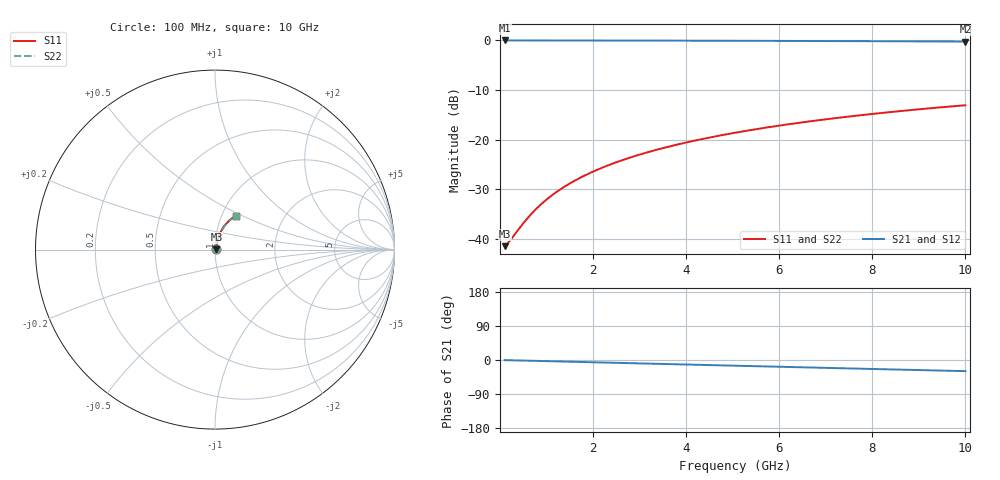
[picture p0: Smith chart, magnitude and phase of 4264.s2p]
# Hz S RI R 50.00
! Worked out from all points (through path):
!   100 points, 100 MHz to 10 GHz, reference 50 ohm
!   highest |S21| = -0.07 dB at 100 MHz (marker M1); lowest = -0.3 dB at 10 GHz (marker M2)
!   group delay of S21, straight-line fit = 8.18 ps
!   lowest |S11| = -41.4 dB at 100 MHz (marker M3), VSWR 1.02, Z = 50.8 + j0.235 ohm
!   |S11| at or under -10 dB: start of sweep to end of sweep
!   |S22| runs from -41.4 to -13.1 dB; largest |S21 - S12| = 0
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1e8  0.00817 0.00231  0.9918 -0.00517  0.9918 -0.00517  0.00817 0.00231
2e8  0.00826 0.00462  0.9917 -0.0103  0.9917 -0.0103  0.00826 0.00462
5e8  0.00861 0.0115  0.9913 -0.0258  0.9913 -0.0258  0.00861 0.0115
6e8  0.00877 0.0138  0.9911 -0.031  0.9911 -0.031  0.00877 0.0138
7e8  0.00894 0.0161  0.9908 -0.0362  0.9908 -0.0362  0.00894 0.0161
9e8  0.00937 0.0207  0.9903 -0.0465  0.9903 -0.0465  0.00937 0.0207
1.1e9  0.00988 0.0253  0.9896 -0.0568  0.9896 -0.0568  0.00988 0.0253
1.3e9  0.0105 0.0299  0.9888 -0.0671  0.9888 -0.0671  0.0105 0.0299
1.5e9  0.0112 0.0345  0.9879 -0.0773  0.9879 -0.0773  0.0112 0.0345
1.8e9  0.0124 0.0413  0.9862 -0.0927  0.9862 -0.0927  0.0124 0.0413
2.1e9  0.0138 0.048  0.9843 -0.1081  0.9843 -0.1081  0.0138 0.048
2.5e9  0.0161 0.0569  0.9813 -0.1284  0.9813 -0.1284  0.0161 0.0569
2.9e9  0.0186 0.0658  0.9778 -0.1487  0.9778 -0.1487  0.0186 0.0658
3.4e9  0.0224 0.0766  0.9728 -0.1738  0.9728 -0.1738  0.0224 0.0766
3.8e9  0.0258 0.0851  0.9682 -0.1938  0.9682 -0.1938  0.0258 0.0851
4.2e9  0.0295 0.0935  0.9631 -0.2136  0.9631 -0.2136  0.0295 0.0935
5.1e9  0.0391 0.1116  0.95 -0.2575  0.95 -0.2575  0.0391 0.1116
5.9e9  0.049 0.1269  0.9364 -0.2956  0.9364 -0.2956  0.049 0.1269
6.7e9  0.0601 0.1412  0.9211 -0.3328  0.9211 -0.3328  0.0601 0.1412
7.5e9  0.0722 0.1545  0.9042 -0.369  0.9042 -0.369  0.0722 0.1545
8.4e9  0.087 0.1681  0.8833 -0.4084  0.8833 -0.4084  0.087 0.1681
1e10  0.1159 0.1887  0.8419 -0.4746  0.8419 -0.4746  0.1159 0.1887
